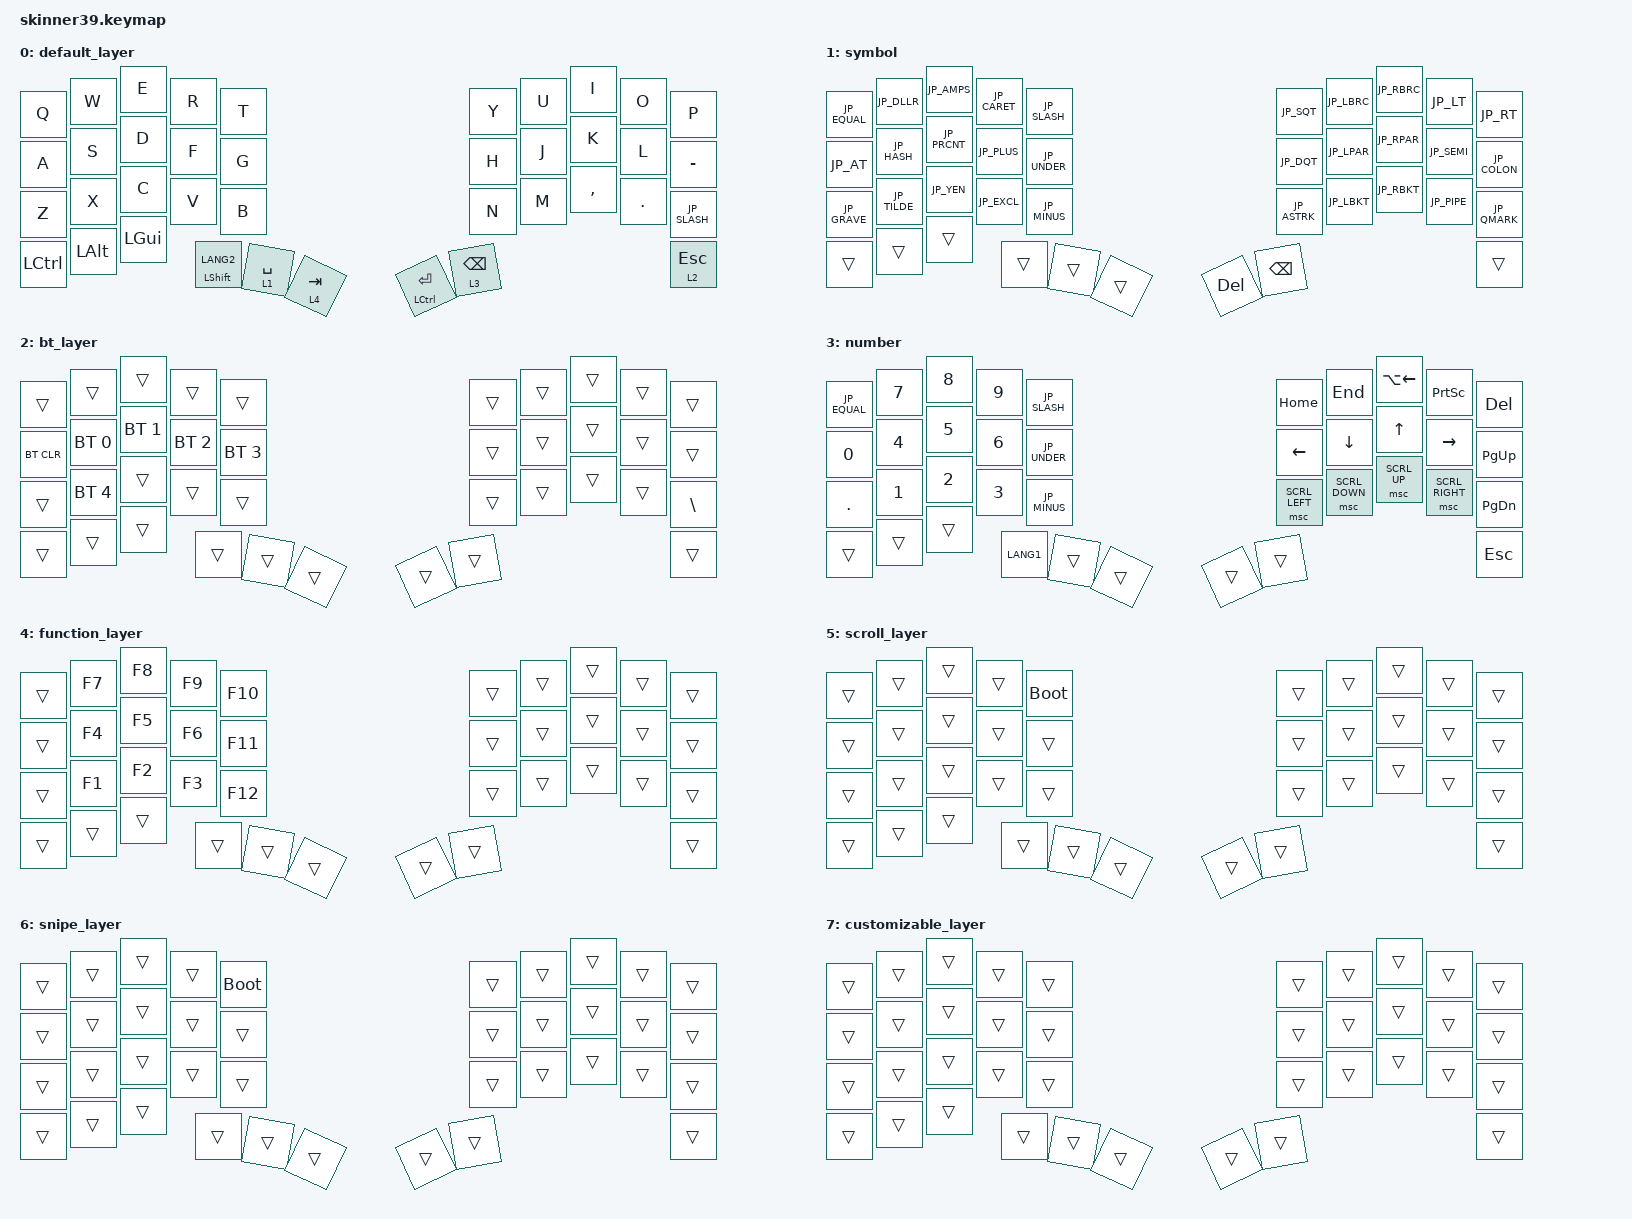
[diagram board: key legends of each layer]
#include "keycode_japanese.h"

#define ZMK_POINTING_DEFAULT_MOVE_VAL 1500  // default: 600
#define ZMK_POINTING_DEFAULT_SCRL_VAL 20    // default: 10

#include <behaviors.dtsi>
#include <dt-bindings/zmk/bt.h>
#include <dt-bindings/zmk/keys.h>
#include <dt-bindings/zmk/pointing.h>

&mt { tapping-term-ms = <200>; };

/ {
    combos {
        compatible = "zmk,combos";

        LEFT_CLICK {
            bindings = <&mkp LCLK>;
            key-positions = <16 17>;
        };

        RIGHT_CLICK {
            bindings = <&mkp RCLK>;
            key-positions = <17 18>;
        };

        bt_layer {
            bindings = <&mo 2>;
            key-positions = <36 37>;
        };
    };

    keymap {
        compatible = "zmk,keymap";

        default_layer {//0
            bindings = <
  &kp Q      &kp W         &kp E         &kp R                 &kp T                                  &kp Y             &kp U  &kp I      &kp O       &kp P
  &kp A      &kp S         &kp D         &kp F                 &kp G                                  &kp H             &kp J  &kp K      &kp L       &kp MINUS
  &kp Z      &kp X         &kp C         &kp V                 &kp B                                  &kp N             &kp M  &kp COMMA  &kp PERIOD  &kp JP_SLASH
  &kp LCTRL  &kp LEFT_ALT  &kp LEFT_GUI  &mt LEFT_SHIFT LANG2  &lt 1 SPACE  &lt 4 TAB  &mt LCTRL RET  &lt 3 BACKSPACE                                &lt 2 ESCAPE
            >;
        };

        symbol {//1
            bindings = <
  &kp JP_EQUAL  &kp JP_DLLR   &kp JP_AMPS   &kp JP_CARET  &kp JP_SLASH                  &kp JP_SQT    &kp JP_LBRC  &kp JP_RBRC  &kp JP_LT    &kp JP_RT
  &kp JP_AT     &kp JP_HASH   &kp JP_PRCNT   &kp JP_PLUS   &kp JP_UNDER                 &kp JP_DQT  &kp JP_LPAR  &kp JP_RPAR  &kp JP_SEMI  &kp JP_COLON
  &kp JP_GRAVE  &kp JP_TILDE  &kp JP_YEN    &kp JP_EXCL   &kp JP_MINUS                  &kp JP_ASTRK   &kp JP_LBKT  &kp JP_RBKT  &kp JP_PIPE   &kp JP_QMARK
  &trans        &trans        &trans        &trans        &trans        &trans  &kp DELETE  &kp BACKSPACE                                               &trans
            >;
        };

        bt_layer {//2
            bindings = <
  &trans      &trans        &trans        &trans        &trans                        &trans  &trans  &trans  &trans  &trans
  &bt BT_CLR  &bt BT_SEL 0  &bt BT_SEL 1  &bt BT_SEL 2  &bt BT_SEL 3                  &trans  &trans  &trans  &trans  &trans
  &trans      &bt BT_SEL 4  &trans        &trans        &trans                        &trans  &trans  &trans  &trans  &kp BACKSLASH
  &trans      &trans        &trans        &trans        &trans        &trans  &trans  &trans                          &trans
            >;
        };

        number {//3
            bindings = <
  &kp JP_EQUAL  &kp N7        &kp NUMBER_8  &kp NUMBER_9  &kp JP_SLASH                  &kp HOME        &kp END         &kp LA(LEFT)  &kp PSCRN        &kp DELETE
  &kp NUMBER_0  &kp NUMBER_4  &kp NUMBER_5  &kp NUMBER_6  &kp JP_UNDER                  &kp LEFT        &kp DOWN        &kp UP_ARROW  &kp RIGHT        &kp PAGE_UP
  &kp PERIOD    &kp NUMBER_1  &kp NUMBER_2  &kp NUMBER_3  &kp JP_MINUS                  &msc SCRL_LEFT  &msc SCRL_DOWN  &msc SCRL_UP  &msc SCRL_RIGHT  &kp PAGE_DOWN
  &trans        &trans        &trans        &kp LANG1        &trans        &trans  &trans  &trans                                                         &kp ESCAPE
            >;
        };

        function_layer {//4
            bindings = <
  &trans  &kp F7  &kp F8  &kp F9  &kp F10                  &trans  &trans  &trans  &trans  &trans
  &trans  &kp F4  &kp F5  &kp F6  &kp F11                  &trans  &trans  &trans  &trans  &trans
  &trans  &kp F1  &kp F2  &kp F3  &kp F12                  &trans  &trans  &trans  &trans  &trans
  &trans  &trans  &trans  &trans  &trans   &trans  &trans  &trans                          &trans
            >;
        };

        scroll_layer {//5
            bindings = <
  &trans  &trans  &trans  &trans  &bootloader                  &trans  &trans  &trans  &trans  &trans
  &trans  &trans  &trans  &trans  &trans                       &trans  &trans  &trans  &trans  &trans
  &trans  &trans  &trans  &trans  &trans                       &trans  &trans  &trans  &trans  &trans
  &trans  &trans  &trans  &trans  &trans       &trans  &trans  &trans                          &trans
            >;
        };

        snipe_layer {//6
            bindings = <
  &trans  &trans  &trans  &trans  &bootloader                  &trans  &trans  &trans  &trans  &trans
  &trans  &trans  &trans  &trans  &trans                       &trans  &trans  &trans  &trans  &trans
  &trans  &trans  &trans  &trans  &trans                       &trans  &trans  &trans  &trans  &trans
  &trans  &trans  &trans  &trans  &trans       &trans  &trans  &trans                          &trans
            >;
        };

        customizable_layer {//7
            bindings = <
  &trans  &trans  &trans  &trans  &trans                  &trans  &trans  &trans  &trans  &trans
  &trans  &trans  &trans  &trans  &trans                  &trans  &trans  &trans  &trans  &trans
  &trans  &trans  &trans  &trans  &trans                  &trans  &trans  &trans  &trans  &trans
  &trans  &trans  &trans  &trans  &trans  &trans  &trans  &trans                          &trans
            >;
        };
    };
};
